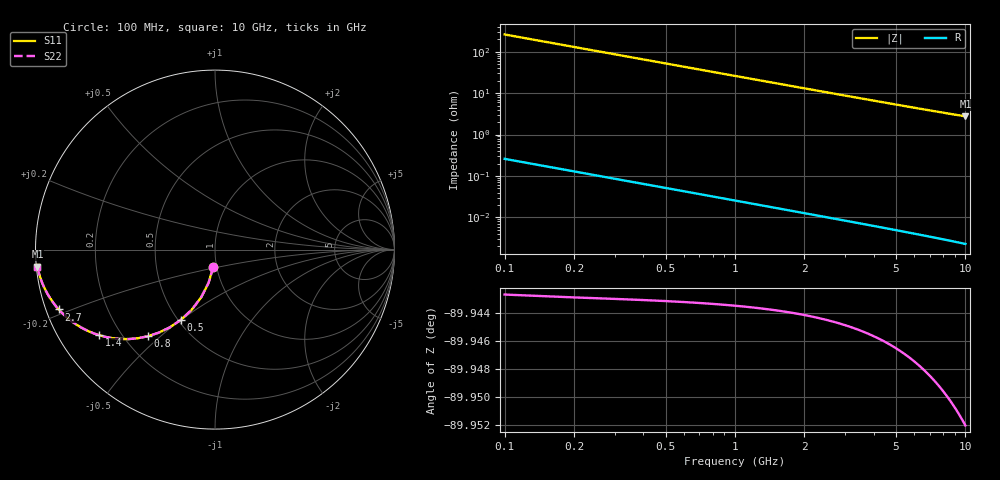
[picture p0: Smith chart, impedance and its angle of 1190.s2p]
# Hz S RI R 50.00
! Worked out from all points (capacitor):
!   100 points, 100 MHz to 10 GHz, reference 50 ohm
!   read as one part in shunt: C = 6.14 pF near 100 MHz
!   lowest |Z| = 2.75 ohm at 10 GHz (marker M1)
!   S11 on the Smith chart (normalised r, x): 100 MHz: 0.96, -0.19; 500 MHz: 0.52, -0.50; 800 MHz: 0.30, -0.46; 1.4 GHz: 0.12, -0.33; 2.7 GHz: 0.04, -0.18; 10 GHz: 0.00, -0.05
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1e8  -0.0093 -0.0955  0.9907 -0.0956  0.9907 -0.0956  -0.0093 -0.0955
2e8  -0.036 -0.1858  0.9639 -0.1861  0.9639 -0.1861  -0.036 -0.1858
3e8  -0.0775 -0.2667  0.9225 -0.2671  0.9225 -0.2671  -0.0775 -0.2667
4e8  -0.1298 -0.3353  0.8702 -0.3358  0.8702 -0.3358  -0.1298 -0.3353
5e8  -0.1889 -0.3906  0.8111 -0.3912  0.8111 -0.3912  -0.1889 -0.3906
6e8  -0.251 -0.4327  0.749 -0.4335  0.749 -0.4335  -0.251 -0.4327
7e8  -0.3131 -0.4628  0.6869 -0.4637  0.6869 -0.4637  -0.3131 -0.4628
8e8  -0.3731 -0.4826  0.6269 -0.4836  0.6269 -0.4836  -0.3731 -0.4826
9e8  -0.4294 -0.4939  0.5705 -0.4951  0.5705 -0.4951  -0.4294 -0.4939
1.1e9  -0.529 -0.4979  0.4709 -0.4994  0.4709 -0.4994  -0.529 -0.4979
1.2e9  -0.5719 -0.4935  0.428 -0.4951  0.428 -0.4951  -0.5719 -0.4935
1.4e9  -0.645 -0.4771  0.355 -0.4789  0.355 -0.4789  -0.645 -0.4771
1.6e9  -0.7034 -0.4552  0.2966 -0.4573  0.2966 -0.4573  -0.7034 -0.4552
1.8e9  -0.7499 -0.4314  0.2501 -0.4337  0.2501 -0.4337  -0.7499 -0.4314
2.2e9  -0.8172 -0.3845  0.1827 -0.3874  0.1827 -0.3874  -0.8172 -0.3845
2.7e9  -0.8705 -0.3334  0.1294 -0.337  0.1294 -0.337  -0.8705 -0.3334
3.4e9  -0.9141 -0.2774  0.0859 -0.2819  0.0859 -0.2819  -0.9141 -0.2774
4.2e9  -0.9419 -0.2306  0.0581 -0.2362  0.0581 -0.2362  -0.9419 -0.2306
5.1e9  -0.9598 -0.1924  0.0401 -0.1992  0.0401 -0.1992  -0.9598 -0.1924
6.7e9  -0.9763 -0.1468  0.0236 -0.1559  0.0236 -0.1559  -0.9763 -0.1468
8.4e9  -0.9849 -0.1156  0.015 -0.1271  0.015 -0.1271  -0.9849 -0.1156
1e10  -0.9893 -0.095  0.0105 -0.1088  0.0105 -0.1088  -0.9893 -0.095
